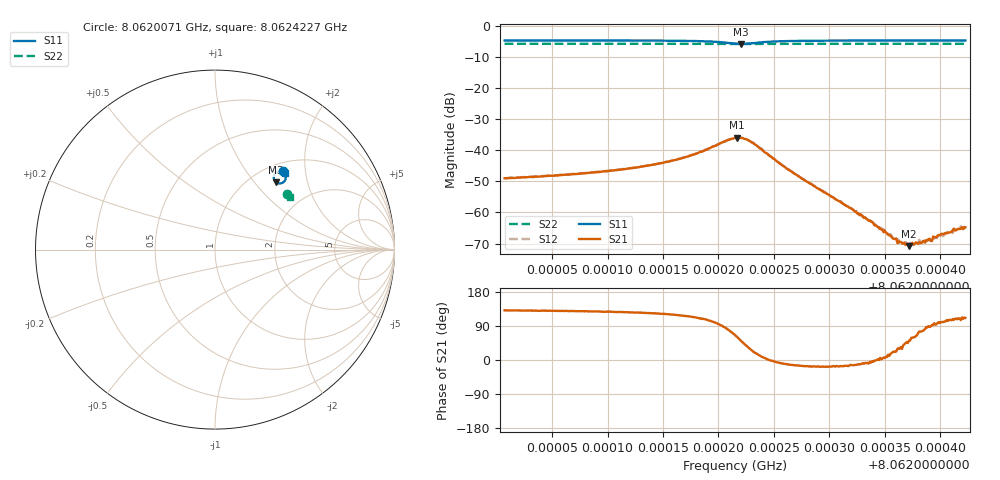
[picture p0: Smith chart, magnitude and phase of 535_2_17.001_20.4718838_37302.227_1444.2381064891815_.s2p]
#  HZ  S  RI  R  50.00
! Rohde & Schwarz Vector Network Analyzer
! Rohde-Schwarz,ZNB20-2Port,1311601062101988,3.16
! Created: UTC 3/20/2024, 11:16:04 PM
! freq[Hz]  re:S11  im:S11  re:S21  im:S21  re:S12  im:S12  re:S22  im:S22
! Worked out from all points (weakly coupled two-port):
!   401 points, 8.0620071 GHz to 8.0624227 GHz, reference 50 ohm
!   highest |S21| = -36.00 dB at 8.062217 GHz (marker M1); lowest = -70.8 dB at 8.0623718 GHz (marker M2)
!   lowest |S11| = -5.9 dB at 8.0622201 GHz (marker M3), VSWR 3.05, Z = 64.5 + j65.2 ohm
!   |S11| at or under -10 dB: nowhere
!   |S22| runs from -5.9 to -5.9 dB; largest |S21 - S12| = 0.001
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8.06200713e9  0.3773 0.4352  -0.00233 0.00267  -0.00218 0.00284  0.4031 0.311
8.06207674e9  0.3832 0.4293  -0.00263 0.00328  -0.00247 0.00348  0.4056 0.3073
8.06211415e9  0.3871 0.4247  -0.00293 0.00396  -0.00273 0.00417  0.4071 0.3052
8.06214636e9  0.391 0.4182  -0.00328 0.00512  -0.00297 0.00535  0.4083 0.3035
8.06217856e9  0.3945 0.4041  -0.00331 0.00791  -0.00288 0.00815  0.4093 0.3014
8.06221493e9  0.3561 0.3688  0.00633 0.0142  0.00736 0.014  0.4083 0.2985
8.06221701e9  0.3495 0.3704  0.00784 0.0138  0.00865 0.0133  0.4082 0.2986
8.06222012e9  0.3403 0.3753  0.00983 0.0124  0.0106 0.0118  0.4079 0.2987
8.06223155e9  0.3274 0.4073  0.0119 0.00482  0.0123 0.00431  0.4081 0.2997
8.06226064e9  0.3562 0.4357  0.00513 -0.000977  0.00515 -0.00128  0.4108 0.2992
8.06228454e9  0.3685 0.4353  0.00267 -0.00083  0.00264 -0.00097  0.4119 0.2979
8.06231986e9  0.3777 0.4321  0.00113 -0.000268  0.00109 -0.000394  0.4136 0.296
8.06235415e9  0.3829 0.4293  0.000426 8.52e-05  0.000423 7.08e-05  0.4149 0.2941
8.06236454e9  0.384 0.4283  0.000277 0.00019  0.000303 0.000166  0.4152 0.2936
8.06237181e9  0.3848 0.4278  0.000181 0.000223  0.0002 0.000207  0.4156 0.2933
8.06237597e9  0.3852 0.4275  0.000153 0.000264  0.000167 0.00025  0.4156 0.293
8.06238116e9  0.3858 0.4272  8.4e-05 0.00032  0.000122 0.000343  0.4158 0.2927
8.06238532e9  0.3862 0.4271  6.8e-05 0.000345  8.44e-05 0.000295  0.4161 0.2924
8.06239675e9  0.3874 0.4262  -3.39e-05 0.000399  2.68e-06 0.000387  0.4165 0.292
8.06240194e9  0.3878 0.4257  -8.28e-05 0.000447  -4.71e-05 0.000413  0.4166 0.2916
8.06240714e9  0.3884 0.4254  -0.000111 0.000465  -0.000111 0.000498  0.4168 0.2913
8.06242272e9  0.3895 0.4244  -0.000207 0.000538  -0.00017 0.000574  0.4174 0.2906
